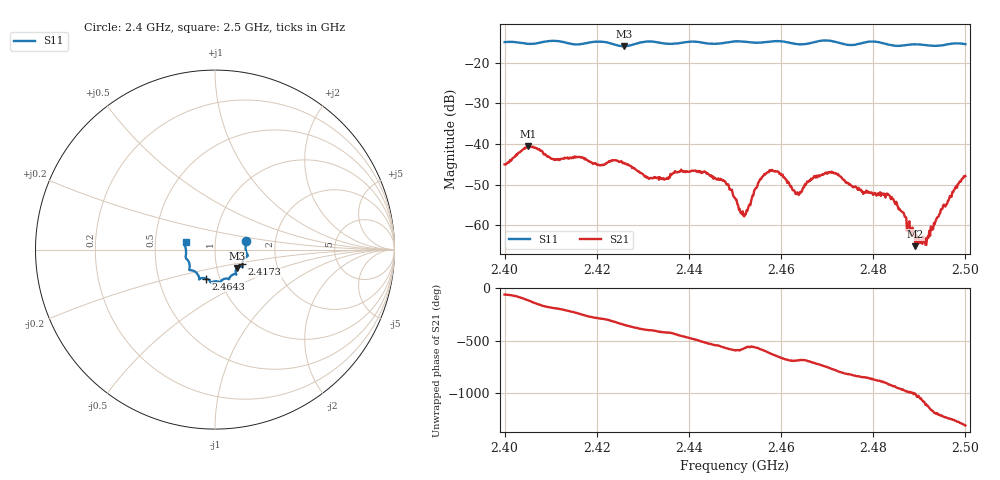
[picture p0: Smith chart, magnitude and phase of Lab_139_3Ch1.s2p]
# Hz S RI R 50
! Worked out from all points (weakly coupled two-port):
!   601 points, 2.4 GHz to 2.5 GHz, reference 50 ohm
!   highest |S21| = -40.54 dB at 2.4052 GHz (marker M1); lowest = -65.2 dB at 2.4892 GHz (marker M2)
!   lowest |S11| = -15.9 dB at 2.4258 GHz (marker M3), VSWR 1.38, Z = 62.3 - j13.2 ohm
!   |S11| at or under -10 dB: start of sweep to end of sweep
!   S12 and S22 are empty: the file has one direction only
!   S11 on the Smith chart (normalised r, x): 2.4 GHz: 1.41, +0.14; 2.4173 GHz: 1.34, -0.22; 2.4643 GHz: 0.86, -0.29; 2.5 GHz: 0.72, +0.06
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2.4e9  0.1727 0.0492  0.00289 -0.0048  0 0  0 0
2.405167e9  0.1704 0.0119  -0.00395 -0.00852  0 0  0 0
2.410667e9  0.1831 -0.0347  -0.00636 0.000851  0 0  0 0
2.416667e9  0.1527 -0.074  -0.00248 0.00635  0 0  0 0
2.417333e9  0.1519 -0.0816  -0.00148 0.00629  0 0  0 0
2.425833e9  0.1218 -0.1033  0.00573 0.00133  0 0  0 0
2.433333e9  0.1131 -0.1371  0.00239 -0.00306  0 0  0 0
2.443667e9  0.0659 -0.1611  -0.0042 -0.00157  0 0  0 0
2.448e9  0.0353 -0.1735  -0.00287 0.0017  0 0  0 0
2.45e9  0.029 -0.1811  -0.00139 0.00166  0 0  0 0
2.452333e9  0.021 -0.1796  -0.00119 0.000662  0 0  0 0
2.4555e9  -0.00242 -0.1772  -0.00277 0.00247  0 0  0 0
2.458e9  -0.0189 -0.1823  -0.000184 0.0048  0 0  0 0
2.464333e9  -0.0497 -0.1611  0.00212 0.0015  0 0  0 0
2.466667e9  -0.0759 -0.1595  0.00354 0.000965  0 0  0 0
2.471333e9  -0.0877 -0.1614  0.00263 -0.0036  0 0  0 0
2.477833e9  -0.134 -0.1151  -0.00156 -0.00186  0 0  0 0
2.483333e9  -0.1409 -0.0901  -0.00226 0.000736  0 0  0 0
2.489167e9  -0.1629 -0.0444  0.000204 0.000512  0 0  0 0
2.491833e9  -0.1616 -0.0271  0.000529 -0.000495  0 0  0 0
2.494833e9  -0.1635 0.00766  -0.00109 -0.00112  0 0  0 0
2.5e9  -0.1639 0.043  -0.00258 0.0031  0 0  0 0
